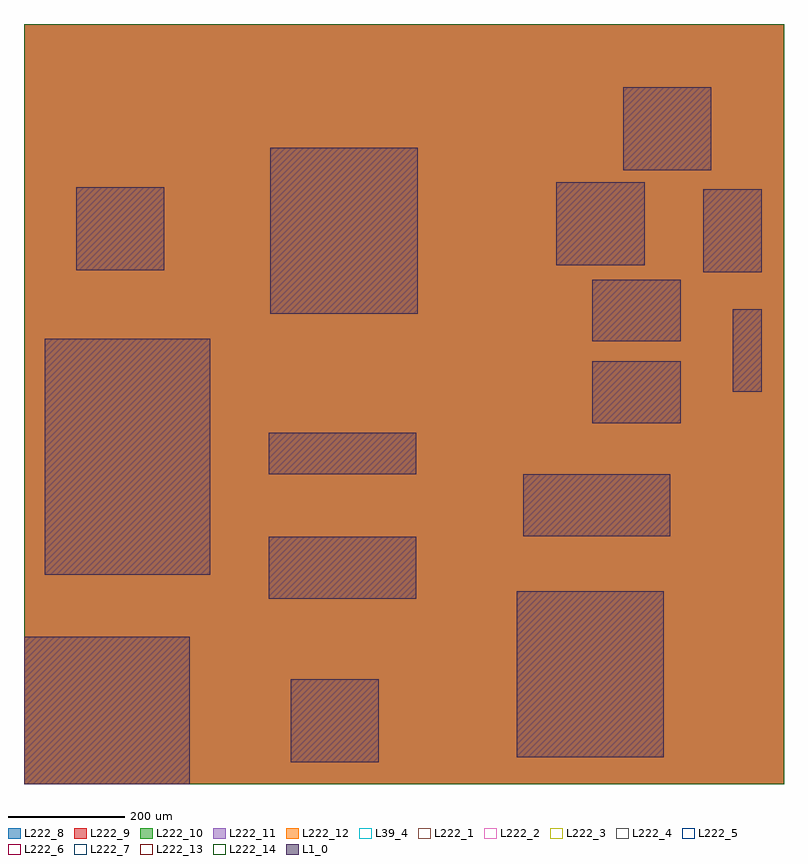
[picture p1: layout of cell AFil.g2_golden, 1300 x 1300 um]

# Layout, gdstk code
import gdstk
lib = gdstk.Library(unit=1e-6, precision=1e-09)
def R(c, l, rs):  # rectangles x0, y0, x1, y1
    for r in rs: c.add(gdstk.rectangle(r[:2], r[2:], *l))
def A(c, l, x, y, w, h, nx, ny, dx, dy):  # array of equal rectangles
    R(c, l, [(x+i*dx, y+j*dy, x+i*dx+w, y+j*dy+h) for i in range(nx) for j in range(ny)])
L1_0 = (1, 0)
L39_4 = (39, 4)
L222_1 = (222, 1)
L222_2 = (222, 2)
L222_3 = (222, 3)
L222_4 = (222, 4)
L222_5 = (222, 5)
L222_6 = (222, 6)
L222_7 = (222, 7)
L222_8 = (222, 8)
L222_9 = (222, 9)
L222_10 = (222, 10)
L222_11 = (222, 11)
L222_12 = (222, 12)
L222_13 = (222, 13)
L222_14 = (222, 14)

afil_g2_golden = lib.new_cell('AFil.g2_golden')
A(afil_g2_golden, L1_0, 0, 0, 35, 50, 8, 5, 35.5, 50.5)
A(afil_g2_golden, L1_0, 456.17, 37.335, 50, 35, 3, 4, 50.5, 35.5)
A(afil_g2_golden, L1_0, 842.445, 46.18, 50, 35, 5, 8, 50.5, 35.5)
A(afil_g2_golden, L1_0, 419.065, 317.14, 50, 35, 5, 3, 50.5, 35.5)
A(afil_g2_golden, L1_0, 35.235, 357.9, 35, 50, 8, 8, 35.5, 50.5)
A(afil_g2_golden, L1_0, 853.765, 423.64, 50, 35, 5, 3, 50.5, 35.5)
A(afil_g2_golden, L1_0, 419.065, 530.14, 50, 35, 5, 2, 50.5, 35.5)
A(afil_g2_golden, L1_0, 972.075, 616.935, 50, 35, 3, 3, 50.5, 35.5)
A(afil_g2_golden, L1_0, 1212.3, 670.675, 50, 35, 1, 4, 0, 35.5)
A(afil_g2_golden, L1_0, 972.075, 756.92, 50, 35, 3, 3, 50.5, 35.5)
A(afil_g2_golden, L1_0, 421.515, 804.71, 50, 35, 5, 8, 50.5, 35.5)
A(afil_g2_golden, L1_0, 1161.8, 875.715, 50, 35, 1, 4, 0, 35.5)
A(afil_g2_golden, L1_0, 1212.3, 875.715, 50, 35, 1, 4, 0, 35.5)
A(afil_g2_golden, L1_0, 88.995, 879.115, 50, 35, 3, 4, 50.5, 35.5)
A(afil_g2_golden, L1_0, 910.625, 887.55, 50, 35, 3, 4, 50.5, 35.5)
A(afil_g2_golden, L1_0, 1024.76, 1049.95, 50, 35, 3, 4, 50.5, 35.5)
R(afil_g2_golden, L39_4, [(0,0,1300,1300)])
R(afil_g2_golden, L222_1, [(0,0,1300,1300)])
R(afil_g2_golden, L222_2, [(0,0,1300,1300)])
R(afil_g2_golden, L222_3, [(0,0,1300,1300)])
R(afil_g2_golden, L222_4, [(0,0,1300,1300)])
R(afil_g2_golden, L222_5, [(0,0,1300,1300)])
R(afil_g2_golden, L222_6, [(0,0,1300,1300)])
R(afil_g2_golden, L222_7, [(0,0,1300,1300)])
R(afil_g2_golden, L222_8, [(0,0,800,800), (400,0,1200,800), (500,0,1300,800), (0,400,800,1200), (400,400,1200,1200), (500,400,1300,1200), (0,500,800,1300), (400,500,1200,1300), (500,500,1300,1300)])
R(afil_g2_golden, L222_9, [(0,0,800,800), (400,0,1200,800), (500,0,1300,800), (0,400,800,1200), (400,400,1200,1200), (500,400,1300,1200), (0,500,800,1300), (400,500,1200,1300), (500,500,1300,1300)])
R(afil_g2_golden, L222_10, [(0,0,800,800), (400,0,1200,800), (500,0,1300,800), (0,400,800,1200), (400,400,1200,1200), (500,400,1300,1200), (0,500,800,1300), (400,500,1200,1300), (500,500,1300,1300)])
R(afil_g2_golden, L222_11, [(0,0,800,800), (400,0,1200,800), (500,0,1300,800), (0,400,800,1200), (400,400,1200,1200), (500,400,1300,1200), (0,500,800,1300), (400,500,1200,1300), (500,500,1300,1300)])
R(afil_g2_golden, L222_12, [(0,0,800,800), (400,0,1200,800), (500,0,1300,800), (0,400,800,1200), (400,400,1200,1200), (500,400,1300,1200), (0,500,800,1300), (400,500,1200,1300), (500,500,1300,1300)])
R(afil_g2_golden, L222_13, [(0,0,1300,1300)])
R(afil_g2_golden, L222_14, [(0,0,1300,1300)])

lib.write_gds('AFil.g2_golden.gds')
